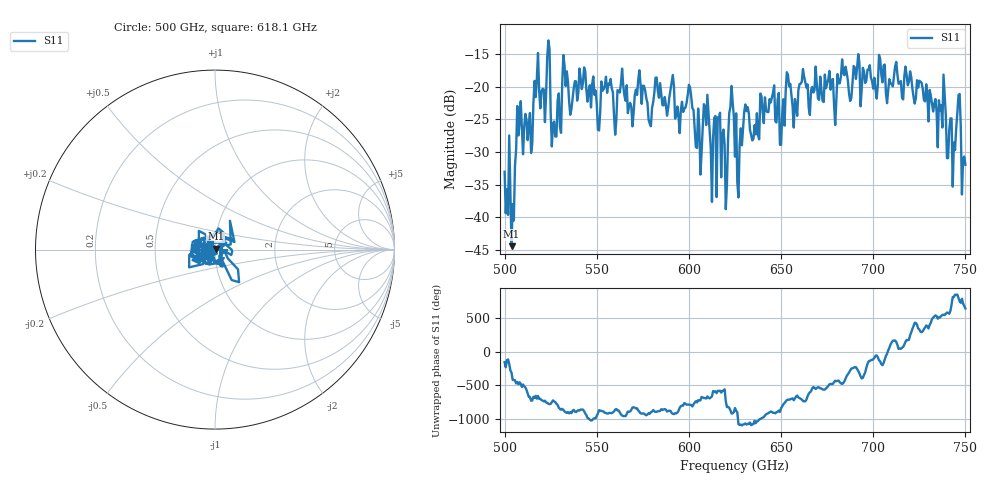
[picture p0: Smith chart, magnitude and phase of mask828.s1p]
!Created with skrf (http://scikit-rf.org).
# GHz S MA R 50.0
!freq magS11 angS11
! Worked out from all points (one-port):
!   401 points, 500 GHz to 750 GHz, reference 50 ohm
!   lowest |S11| = -44.4 dB at 503.8 GHz (marker M1), VSWR 1.01, Z = 50.4 + j0.464 ohm
!   |S11| at or under -10 dB: start of sweep to end of sweep
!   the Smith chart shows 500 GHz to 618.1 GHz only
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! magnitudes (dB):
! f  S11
! 500 GHz  -33.0
! 503.8 GHz  -44.4
! 507.5 GHz  -27.5
! 513.8 GHz  -24.0
! 516.9 GHz  -21.6
! 523.8 GHz  -12.9
! 526.9 GHz  -25.3
! 531.2 GHz  -19.5
! 562.5 GHz  -20.9
! 578.8 GHz  -25.7
! 590.6 GHz  -19.4
! 593.8 GHz  -23.0
! 600 GHz  -19.7
! 605 GHz  -23.3
! 609.4 GHz  -25.9
! 620 GHz  -38.7
! 623.1 GHz  -19.9
! 625 GHz  -30.7
! 627.5 GHz  -29.0
! 631.2 GHz  -23.8
! 635 GHz  -28.0
! 656.2 GHz  -23.0
! 687.5 GHz  -22.2
! 718.8 GHz  -19.8
! 738.1 GHz  -18.2
! 743.8 GHz  -28.5
! 746.2 GHz  -21.3
! 750 GHz  -32.0
